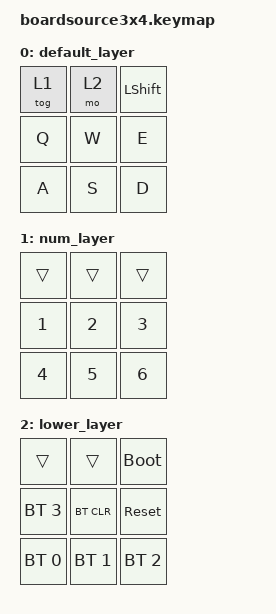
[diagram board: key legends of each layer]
/*
 * Copyright (c) 2020 The ZMK Contributors
 *
 * SPDX-License-Identifier: MIT
 */

#include <behaviors.dtsi>
#include <dt-bindings/zmk/keys.h>
#include <dt-bindings/zmk/bt.h>
#include "keys_de.h"

/ {
    keymap {
        compatible = "zmk,keymap";

        default_layer { //layer 0

            bindings = <
    &tog 1   &mo 2      &kp LSHIFT
    &kp Q    &kp W      &kp E
    &kp A    &kp S      &kp D
            >;

        };

        num_layer {
            bindings = <
    &trans &trans &trans
    &kp N1 &kp N2 &kp N3
    &kp N4 &kp N5 &kp N6
            >;
        };

        lower_layer {
            bindings = <
    &trans       &trans       &bootloader
    &bt BT_SEL 3 &bt BT_CLR   &sys_reset
    &bt BT_SEL 0 &bt BT_SEL 1 &bt BT_SEL 2
            >;
        };
    };
};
